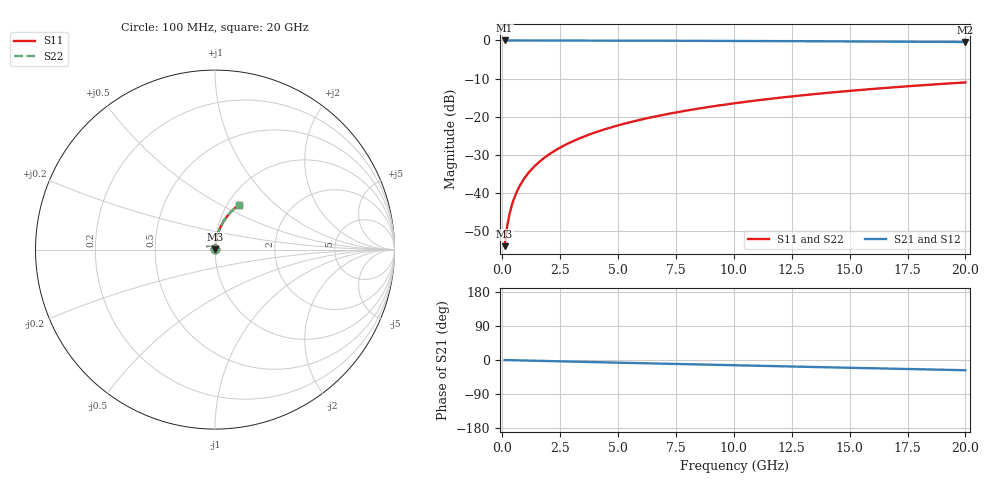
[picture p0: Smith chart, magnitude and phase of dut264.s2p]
! Touchstone file exported from HFSS 2026.1.0
!  File:  C:/ffzhzh/LocalFiles/Ansys_Project_Files/temp_train_BSMRDL_264_1782988819_45328.aedt
!  Generated:  06:41:37 PM Jul  2, 2026
!  Design:  BSMRDL
!  Project:  temp_train_BSMRDL_264_1782988819_45328
! Variables:
!  h_bsmrdl = 5.69um
!  h_ox = 20um
!  h_rdl = 5um
!  h_sub = 80um
!  h_tmrdl = 5um
!  h_tsv = 80um
!  h_via = 3um
!  l_bsmrdl = 348.12um
!  l_sub = 748.12um
!  l_tmrdl = 200um
!  m_sub = 200um
!  pitch = 57.68um
!  r_tsv = 6um
!  s_tmrdl = 10um
!  w_bsmrdl = 22.05um
!  w_sub = 500um
!  w_tmrdl = 12um
!  x_tsv_center1 = 206um
!  x_tsv_center2 = 576.17um
!  x_tsv_center3 = 788.17um
!  x_tsv_center4 = 1158.34um
!  x_tsv_center5 = 1370.34um
!  x_tsv_center6 = 1740.51um
# GHz S MA R 50.000000
! Terminal data exported
! Port[1] = BSM_RDL1_1_T1
! Port[2] = BSM_RDL1_1_T2
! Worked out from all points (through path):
!   200 points, 100 MHz to 20 GHz, reference 50 ohm
!   highest |S21| = -0.01 dB at 100 MHz (marker M1); lowest = -0.4 dB at 20 GHz (marker M2)
!   group delay of S21, straight-line fit = 3.74 ps
!   lowest |S11| = -53.9 dB at 100 MHz (marker M3), VSWR 1.00, Z = 50.1 + j0.167 ohm
!   |S11| at or under -10 dB: start of sweep to end of sweep
!   |S22| runs from -53.9 to -11.0 dB; largest |S21 - S12| = 4.2e-15
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0.1  0.002012 55.9  0.9989 -0.1  0.9989 -0.1  0.002012 55.9
! Gamma 0 0 0 0
! Port Impedance 50 0 50 0
0.2  0.003518 71.1  0.9988 -0.3  0.9988 -0.3  0.003519 71.1
0.3  0.005114 76.8  0.9987 -0.4  0.9987 -0.4  0.005116 76.8
0.4  0.006728 79.7  0.9987 -0.6  0.9987 -0.6  0.006731 79.6
0.5  0.008341 81.3  0.9986 -0.7  0.9986 -0.7  0.008346 81.3
0.7  0.01155 83.0  0.9985 -1.0  0.9985 -1.0  0.01156 82.9
0.8  0.01314 83.4  0.9985 -1.1  0.9985 -1.1  0.01315 83.3
1  0.0163 83.8  0.9984 -1.4  0.9984 -1.4  0.01631 83.8
1.2  0.01944 84.0  0.9983 -1.7  0.9983 -1.7  0.01945 84.0
1.4  0.02255 84.0  0.9981 -2.0  0.9981 -2.0  0.02256 84.0
1.7  0.02719 83.9  0.9979 -2.4  0.9979 -2.4  0.02719 83.9
2  0.03179 83.7  0.9977 -2.9  0.9977 -2.9  0.03179 83.7
2.7  0.04245 83.1  0.997 -3.8  0.997 -3.8  0.04245 83.1
3.5  0.05455 82.3  0.996 -5.0  0.996 -5.0  0.05455 82.3
4.2  0.06507 81.6  0.9951 -5.9  0.9951 -5.9  0.06507 81.6
5  0.07702 80.6  0.9939 -7.0  0.9939 -7.0  0.07702 80.6
6.8  0.1036 78.4  0.9909 -9.5  0.9909 -9.5  0.1036 78.4
8.3  0.1254 76.5  0.988 -11.6  0.988 -11.6  0.1254 76.5
10.1  0.1511 74.3  0.984 -14.0  0.984 -14.0  0.1511 74.3
13.4  0.1968 70.1  0.9752 -18.4  0.9752 -18.4  0.1968 70.1
16.7  0.2404 65.9  0.9649 -22.7  0.9649 -22.7  0.2404 65.9
20  0.2816 61.8  0.9534 -27.0  0.9534 -27.0  0.2816 61.8
